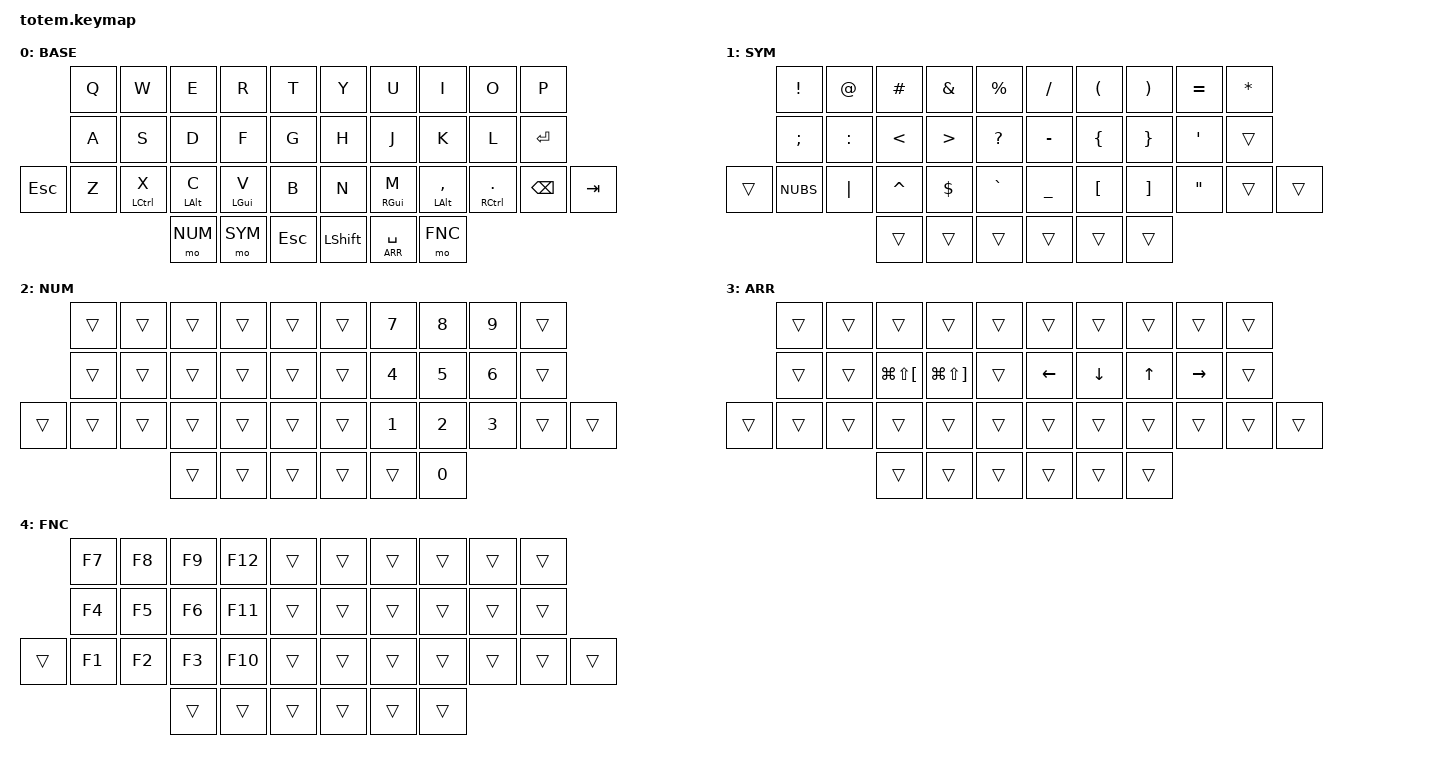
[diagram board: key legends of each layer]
//
//                                                        ▀▀▀▀▀     ▀▀▀▀▀          ▀▀█▀▀
//                                                        ▄▀▀▀▄  ▄  ▄▀▀▀▄  ▄  ▄▀▀▀▄  █  ▄▀▀▀▄
//                                                        █   █  █  █   █  █  █   █  █  █   █
//                                                         ▀▀▀   █   ▀▀▀   █   ▀▀▀   ▀   ▀▀▀
//                                                               █      ▄▄▄█▄▄▄    █   █  
//                                                               ▀      █  █  █     █▄█
//                                                             ▀▀▀▀▀    █  █  █      ▀
//                                                                      ▀  ▀  ▀
//
// ▄▄▄▄▄▄▄▄▄▄▄▄▄▄▄▄▄▄▄▄▄▄▄▄▄▄▄▄▄▄▄▄▄▄▄▄▄▄▄▄▄▄▄▄▄▄▄▄▄▄▄▄▄▄▄▄▄▄▄▄▄▄▄▄▄▄▄▄▄▄▄▄▄▄▄▄▄▄▄▄▄▄▄▄▄▄▄▄▄▄▄▄▄▄▄▄▄▄▄▄▄▄▄▄▄▄▄▄▄▄▄▄▄▄▄▄▄▄▄▄▄▄▄▄▄▄▄▄▄▄▄▄▄▄▄▄▄▄▄▄▄▄▄▄▄▄▄▄▄
       

#include <behaviors.dtsi>
#include <dt-bindings/zmk/keys.h>
#include <dt-bindings/zmk/bt.h>
#include <dt-bindings/zmk/outputs.h>

#define BASE 0
#define SYM  1
#define NUM  2
#define ARR  3
#define FNC  4


&mt {
  quick-tap-ms = <100>;
  global-quick-tap;
  flavor = "tap-preferred";
  tapping-term-ms = <170>;
};

/ {
    combos {
            compatible = "zmk,combos";
            combo_esc {
                timeout-ms = <50>;
                key-positions = <0 1>;
                bindings = <&kp ESC>;
            };
    };

    macros {
        gif: gif {
            label = "giphy";
            compatible = "zmk,behavior-macro";
            #binding-cells = <0>;
            bindings
                = <&macro_press &kp LSHFT>
                , <&macro_tap &kp N2>
                , <&macro_release &kp LSHFT>
                , <&macro_tap &kp G &kp I &kp F>
                ;
        };
    };

        keymap {
                compatible = "zmk,keymap";
// ▄▄▄▄▄▄▄▄▄▄▄▄▄▄▄▄▄▄▄▄▄▄▄▄▄▄▄▄▄▄▄▄▄▄▄▄▄▄▄▄▄▄▄▄▄▄▄▄▄▄▄▄▄▄▄▄▄▄▄▄▄▄▄▄▄▄▄▄▄▄▄▄▄▄▄▄▄▄▄▄▄▄▄▄▄▄▄▄▄▄▄▄▄▄▄▄▄▄▄▄▄▄▄▄▄▄▄▄▄▄▄▄▄▄▄▄▄▄▄▄▄▄▄▄▄▄▄▄▄▄▄▄▄▄▄▄▄▄▄▄▄▄▄▄▄▄▄▄▄

                base_layer {
// ┏━━━━━━━━━━━━━━━━━━━━━━━━━━━━━━━━━━━━━━━┓
label= "BASE"                              ;
// ┗━━━━━━━━━━━━━━━━━━━━━━━━━━━━━━━━━━━━━━━┛
//             ┏━━━━━━━━━━━┳━━━━━━━━━━━┳━━━━━━━━━━━┳━━━━━━━━━━━┳━━━━━━━━━━━┓   ┏━━━━━━━━━━━┳━━━━━━━━━━━┳━━━━━━━━━━━┳━━━━━━━━━━━┳━━━━━━━━━━━┓
//             ┃     Q     ┃     W     ┃     F     ┃     P     ┃     G     ┃   ┃     J     ┃     L     ┃     U     ┃     Y     ┃     ;     ┃
//             ┣━━━━━━━━━━━╋━━━━━━━━━━━╋━━━━━━━━━━━╋━━━━━━━━━━━╋━━━━━━━━━━━┫   ┣━━━━━━━━━━━╋━━━━━━━━━━━╋━━━━━━━━━━━╋━━━━━━━━━━━╋━━━━━━━━━━━┫
//             ┃     A     ┃     R     ┃     S     ┃     T     ┃     D     ┃   ┃     H     ┃     N     ┃     E     ┃     I     ┃     O     ┃
// ┏━━━━━━━━━━━╋━━━━━━━━━━━╋━━━━━━━━━━━╋━━━━━━━━━━━╋━━━━━━━━━━━╋━━━━━━━━━━━┫   ┣━━━━━━━━━━━╋━━━━━━━━━━━╋━━━━━━━━━━━╋━━━━━━━━━━━╋━━━━━━━━━━━╋━━━━━━━━━━━┓
// ┃           ┃     Z     ┃     X     ┃     C     ┃     V     ┃     B     ┃   ┃     K     ┃     M     ┃     ,     ┃     .     ┃     /     ┃           ┃
// ┗━━━━━━━━━━━┻━━━━━━━━━━━┻━━━━━━━━━━━╋━━━━━━━━━━━╋━━━━━━━━━━━╋━━━━━━━━━━━┫   ┣━━━━━━━━━━━╋━━━━━━━━━━━╋━━━━━━━━━━━╋━━━━━━━━━━━┻━━━━━━━━━━━┻━━━━━━━━━━━┛
//                                     ┃           ┃    TAB    ┃    SPC    ┃   ┃   ENTER   ┃   BSPC    ┃           ┃
//                                     ┗━━━━━━━━━━━┻━━━━━━━━━━━┻━━━━━━━━━━━┛   ┗━━━━━━━━━━━┻━━━━━━━━━━━┻━━━━━━━━━━━┛
 bindings = <
// ╷           ╷           ╷           ╷           ╷           ╷           ╷   ╷           ╷           ╷           ╷           ╷           ╷           ╷

                &kp Q       &kp W       &kp E       &kp R       &kp T           &kp Y       &kp U       &kp I       &kp O       &kp P
                &kp A       &kp S       &kp D       &kp F       &kp G           &kp H       &kp J       &kp K       &kp L       &kp RET    
    &kp ESC     &kp Z       &mt LCTRL X &mt LALT C  &mt LGUI V &kp B           &kp N       &mt RGUI M  &mt LALT COMMA &mt RCTRL DOT  &kp BSPC  &kp TAB
                                        &mo NUM     &mo SYM     &kp ESC         &kp LSHFT   &lt ARR SPACE  &mo FNC
                        >;
                };

// ▄▄▄▄▄▄▄▄▄▄▄▄▄▄▄▄▄▄▄▄▄▄▄▄▄▄▄▄▄▄▄▄▄▄▄▄▄▄▄▄▄▄▄▄▄▄▄▄▄▄▄▄▄▄▄▄▄▄▄▄▄▄▄▄▄▄▄▄▄▄▄▄▄▄▄▄▄▄▄▄▄▄▄▄▄▄▄▄▄▄▄▄▄▄▄▄▄▄▄▄▄▄▄▄▄▄▄▄▄▄▄▄▄▄▄▄▄▄▄▄▄▄▄▄▄▄▄▄▄▄▄▄▄▄▄▄▄▄▄▄▄▄▄▄▄▄▄▄▄


                sym_layer {
// ┏━━━━━━━━━━━━━━━━━━━━━━━━━━━━━━━━━━━━━━━┓
label= "SYM"                              ;
// ┗━━━━━━━━━━━━━━━━━━━━━━━━━━━━━━━━━━━━━━━┛
//             ┏━━━━━━━━━━━┳━━━━━━━━━━━┳━━━━━━━━━━━┳━━━━━━━━━━━┳━━━━━━━━━━━┓   ┏━━━━━━━━━━━┳━━━━━━━━━━━┳━━━━━━━━━━━┳━━━━━━━━━━━┳━━━━━━━━━━━┓
//             ┃           ┃           ┃     UP    ┃           ┃     {     ┃   ┃     }     ┃     7     ┃     8     ┃     9     ┃     +     ┃
//             ┣━━━━━━━━━━━╋━━━━━━━━━━━╋━━━━━━━━━━━╋━━━━━━━━━━━╋━━━━━━━━━━━┫   ┣━━━━━━━━━━━╋━━━━━━━━━━━╋━━━━━━━━━━━╋━━━━━━━━━━━╋━━━━━━━━━━━┫
//             ┃   SHIFT   ┃   LEFT    ┃    DOWN   ┃   RIGHT   ┃     [     ┃   ┃     ]     ┃     4     ┃     5     ┃     6     ┃     -     ┃
// ┏━━━━━━━━━━━╋━━━━━━━━━━━╋━━━━━━━━━━━╋━━━━━━━━━━━╋━━━━━━━━━━━╋━━━━━━━━━━━┫   ┣━━━━━━━━━━━╋━━━━━━━━━━━╋━━━━━━━━━━━╋━━━━━━━━━━━╋━━━━━━━━━━━╋━━━━━━━━━━━┓
// ┃           ┃           ┃   P UP    ┃  C LOCK   ┃  P DOWN   ┃     (     ┃   ┃     )     ┃     1     ┃     2     ┃     3     ┃     *     ┃           ┃
// ┗━━━━━━━━━━━┻━━━━━━━━━━━┻━━━━━━━━━━━╋━━━━━━━━━━━╋━━━━━━━━━━━╋━━━━━━━━━━━┫   ┣━━━━━━━━━━━╋━━━━━━━━━━━╋━━━━━━━━━━━╋━━━━━━━━━━━┻━━━━━━━━━━━┻━━━━━━━━━━━┛
//                                     ┃           ┃    TAB    ┃    SPC    ┃   ┃    DEL    ┃     0     ┃           ┃
//                                     ┗━━━━━━━━━━━┻━━━━━━━━━━━┻━━━━━━━━━━━┛   ┗━━━━━━━━━━━┻━━━━━━━━━━━┻━━━━━━━━━━━┛
 bindings = <
// ╷           ╷           ╷           ╷           ╷           ╷           ╷   ╷           ╷           ╷           ╷           ╷           ╷           ╷

                &kp EXCL    &kp AT      &kp HASH    &kp AMPS    &kp PRCNT       &kp SLASH   &kp LPAR    &kp RPAR    &kp EQUAL   &kp ASTRK
                &kp SEMI    &kp COLON   &kp LT      &kp GT      &kp QMARK       &kp MINUS   &kp LBRC    &kp RBRC    &kp SQT     &trans
    &trans      &kp NUBS    &kp PIPE    &kp CARET   &kp DLLR    &kp GRAVE       &kp UNDER   &kp LBKT    &kp RBKT    &kp DQT   &trans    &trans      
                                        &trans      &trans      &trans          &trans     &trans   &trans      
                        >;
                };

// ▄▄▄▄▄▄▄▄▄▄▄▄▄▄▄▄▄▄▄▄▄▄▄▄▄▄▄▄▄▄▄▄▄▄▄▄▄▄▄▄▄▄▄▄▄▄▄▄▄▄▄▄▄▄▄▄▄▄▄▄▄▄▄▄▄▄▄▄▄▄▄▄▄▄▄▄▄▄▄▄▄▄▄▄▄▄▄▄▄▄▄▄▄▄▄▄▄▄▄▄▄▄▄▄▄▄▄▄▄▄▄▄▄▄▄▄▄▄▄▄▄▄▄▄▄▄▄▄▄▄▄▄▄▄▄▄▄▄▄▄▄▄▄▄▄▄▄▄▄


                num_layer {
// ┏━━━━━━━━━━━━━━━━━━━━━━━━━━━━━━━━━━━━━━━┓
label= "NUM"                               ;
// ┗━━━━━━━━━━━━━━━━━━━━━━━━━━━━━━━━━━━━━━━┛
//             ┏━━━━━━━━━━━┳━━━━━━━━━━━┳━━━━━━━━━━━┳━━━━━━━━━━━┳━━━━━━━━━━━┓   ┏━━━━━━━━━━━┳━━━━━━━━━━━┳━━━━━━━━━━━┳━━━━━━━━━━━┳━━━━━━━━━━━┓
//             ┃     !     ┃     @     ┃     #     ┃     $     ┃     %     ┃   ┃     ˆ     ┃     &     ┃     Ü     ┃     '     ┃     "     ┃
//             ┣━━━━━━━━━━━╋━━━━━━━━━━━╋━━━━━━━━━━━╋━━━━━━━━━━━╋━━━━━━━━━━━┫   ┣━━━━━━━━━━━╋━━━━━━━━━━━╋━━━━━━━━━━━╋━━━━━━━━━━━╋━━━━━━━━━━━┫
//             ┃     Ä     ┃           ┃    SZ     ┃           ┃           ┃   ┃   MUTE    ┃   YEN     ┃   EURO    ┃  POUND    ┃     Ö     ┃
// ┏━━━━━━━━━━━╋━━━━━━━━━━━╋━━━━━━━━━━━╋━━━━━━━━━━━╋━━━━━━━━━━━╋━━━━━━━━━━━┫   ┣━━━━━━━━━━━╋━━━━━━━━━━━╋━━━━━━━━━━━╋━━━━━━━━━━━╋━━━━━━━━━━━╋━━━━━━━━━━━┓
// ┃           ┃  EMAIL1   ┃  EMAIL2   ┃           ┃           ┃           ┃   ┃   VOL-    ┃   VOL+    ┃   LAST    ┃   NEXT    ┃     \     ┃           ┃
// ┗━━━━━━━━━━━┻━━━━━━━━━━━┻━━━━━━━━━━━╋━━━━━━━━━━━╋━━━━━━━━━━━╋━━━━━━━━━━━┫   ┣━━━━━━━━━━━╋━━━━━━━━━━━╋━━━━━━━━━━━╋━━━━━━━━━━━┻━━━━━━━━━━━┻━━━━━━━━━━━┛
//                                     ┃           ┃    GIF    ┃    ADJ    ┃   ┃           ┃           ┃           ┃
//                                     ┗━━━━━━━━━━━┻━━━━━━━━━━━┻━━━━━━━━━━━┛   ┗━━━━━━━━━━━┻━━━━━━━━━━━┻━━━━━━━━━━━┛
 bindings = <
// ╷           ╷           ╷           ╷           ╷           ╷           ╷   ╷           ╷           ╷           ╷           ╷           ╷           ╷

                &trans      &trans      &trans    &trans            &trans        &trans      &kp N7          &kp N8      &kp N9      &trans       
                &trans      &trans      &trans    &trans            &trans        &trans      &kp N4          &kp N5      &kp N6      &trans   
    &trans      &trans      &trans      &trans    &trans            &trans        &trans      &kp N1          &kp N2      &kp N3      &trans   &trans         
                                        &trans    &trans            &trans        &trans      &trans          &kp N0      
                        >;
                };

// ▄▄▄▄▄▄▄▄▄▄▄▄▄▄▄▄▄▄▄▄▄▄▄▄▄▄▄▄▄▄▄▄▄▄▄▄▄▄▄▄▄▄▄▄▄▄▄▄▄▄▄▄▄▄▄▄▄▄▄▄▄▄▄▄▄▄▄▄▄▄▄▄▄▄▄▄▄▄▄▄▄▄▄▄▄▄▄▄▄▄▄▄▄▄▄▄▄▄▄▄▄▄▄▄▄▄▄▄▄▄▄▄▄▄▄▄▄▄▄▄▄▄▄▄▄▄▄▄▄▄▄▄▄▄▄▄▄▄▄▄▄▄▄▄▄▄▄▄▄


                arr_layer {
// ┏━━━━━━━━━━━━━━━━━━━━━━━━━━━━━━━━━━━━━━━┓
label= "ARR"                               ;
// ┗━━━━━━━━━━━━━━━━━━━━━━━━━━━━━━━━━━━━━━━┛
//             ┏━━━━━━━━━━━┳━━━━━━━━━━━┳━━━━━━━━━━━┳━━━━━━━━━━━┳━━━━━━━━━━━┓   ┏━━━━━━━━━━━┳━━━━━━━━━━━┳━━━━━━━━━━━┳━━━━━━━━━━━┳━━━━━━━━━━━┓
//             ┃     !     ┃     @     ┃     #     ┃     $     ┃     %     ┃   ┃     ˆ     ┃     &     ┃     Ü     ┃     '     ┃     "     ┃
//             ┣━━━━━━━━━━━╋━━━━━━━━━━━╋━━━━━━━━━━━╋━━━━━━━━━━━╋━━━━━━━━━━━┫   ┣━━━━━━━━━━━╋━━━━━━━━━━━╋━━━━━━━━━━━╋━━━━━━━━━━━╋━━━━━━━━━━━┫
//             ┃     Ä     ┃           ┃    SZ     ┃           ┃           ┃   ┃   MUTE    ┃   YEN     ┃   EURO    ┃  POUND    ┃     Ö     ┃
// ┏━━━━━━━━━━━╋━━━━━━━━━━━╋━━━━━━━━━━━╋━━━━━━━━━━━╋━━━━━━━━━━━╋━━━━━━━━━━━┫   ┣━━━━━━━━━━━╋━━━━━━━━━━━╋━━━━━━━━━━━╋━━━━━━━━━━━╋━━━━━━━━━━━╋━━━━━━━━━━━┓
// ┃           ┃  EMAIL1   ┃  EMAIL2   ┃           ┃           ┃           ┃   ┃   VOL-    ┃   VOL+    ┃   LAST    ┃   NEXT    ┃     \     ┃           ┃
// ┗━━━━━━━━━━━┻━━━━━━━━━━━┻━━━━━━━━━━━╋━━━━━━━━━━━╋━━━━━━━━━━━╋━━━━━━━━━━━┫   ┣━━━━━━━━━━━╋━━━━━━━━━━━╋━━━━━━━━━━━╋━━━━━━━━━━━┻━━━━━━━━━━━┻━━━━━━━━━━━┛
//                                     ┃           ┃    GIF    ┃    ADJ    ┃   ┃           ┃           ┃           ┃
//                                     ┗━━━━━━━━━━━┻━━━━━━━━━━━┻━━━━━━━━━━━┛   ┗━━━━━━━━━━━┻━━━━━━━━━━━┻━━━━━━━━━━━┛
 bindings = <
// ╷           ╷           ╷           ╷           ╷           ╷           ╷   ╷           ╷           ╷           ╷           ╷           ╷           ╷

                &trans      &trans      &trans              &trans            &trans        &trans      &trans          &trans      &trans      &trans       
                &trans      &trans      &kp LG(LS(LBKT))    &kp LG(LS(RBKT))  &trans        &kp LEFT    &kp DOWN        &kp UP      &kp RIGHT   &trans   
    &trans      &trans      &trans      &trans              &trans            &trans        &trans      &trans          &trans      &trans      &trans   &trans         
                                        &trans              &trans            &trans        &trans      &trans          &trans      
                        >;
                };

// ▄▄▄▄▄▄▄▄▄▄▄▄▄▄▄▄▄▄▄▄▄▄▄▄▄▄▄▄▄▄▄▄▄▄▄▄▄▄▄▄▄▄▄▄▄▄▄▄▄▄▄▄▄▄▄▄▄▄▄▄▄▄▄▄▄▄▄▄▄▄▄▄▄▄▄▄▄▄▄▄▄▄▄▄▄▄▄▄▄▄▄▄▄▄▄▄▄▄▄▄▄▄▄▄▄▄▄▄▄▄▄▄▄▄▄▄▄▄▄▄▄▄▄▄▄▄▄▄▄▄▄▄▄▄▄▄▄▄▄▄▄▄▄▄▄▄▄▄▄


                fnc_layer {
// ┏━━━━━━━━━━━━━━━━━━━━━━━━━━━━━━━━━━━━━━━┓
label= "FNC"                               ;
// ┗━━━━━━━━━━━━━━━━━━━━━━━━━━━━━━━━━━━━━━━┛
//             ┏━━━━━━━━━━━┳━━━━━━━━━━━┳━━━━━━━━━━━┳━━━━━━━━━━━┳━━━━━━━━━━━┓   ┏━━━━━━━━━━━┳━━━━━━━━━━━┳━━━━━━━━━━━┳━━━━━━━━━━━┳━━━━━━━━━━━┓
//             ┃   RESET   ┃ BT CLEAR  ┃  OUT TOG  ┃           ┃           ┃   ┃           ┃    F7     ┃    F8     ┃    F9     ┃    F12    ┃
//             ┣━━━━━━━━━━━╋━━━━━━━━━━━╋━━━━━━━━━━━╋━━━━━━━━━━━╋━━━━━━━━━━━┫   ┣━━━━━━━━━━━╋━━━━━━━━━━━╋━━━━━━━━━━━╋━━━━━━━━━━━╋━━━━━━━━━━━┫
//             ┃ BOOTLOAD  ┃ BT NEXT   ┃           ┃           ┃           ┃   ┃           ┃    F4     ┃    F5     ┃    F6     ┃    F11    ┃
// ┏━━━━━━━━━━━╋━━━━━━━━━━━╋━━━━━━━━━━━╋━━━━━━━━━━━╋━━━━━━━━━━━╋━━━━━━━━━━━┫   ┣━━━━━━━━━━━╋━━━━━━━━━━━╋━━━━━━━━━━━╋━━━━━━━━━━━╋━━━━━━━━━━━╋━━━━━━━━━━━┓
// ┃           ┃           ┃ BT PREV   ┃           ┃           ┃           ┃   ┃           ┃    F1     ┃    F2     ┃    F3     ┃    F10    ┃           ┃
// ┗━━━━━━━━━━━┻━━━━━━━━━━━┻━━━━━━━━━━━╋━━━━━━━━━━━╋━━━━━━━━━━━╋━━━━━━━━━━━┫   ┣━━━━━━━━━━━╋━━━━━━━━━━━╋━━━━━━━━━━━╋━━━━━━━━━━━┻━━━━━━━━━━━┻━━━━━━━━━━━┛
//                                     ┃           ┃           ┃           ┃   ┃           ┃           ┃           ┃
//                                     ┗━━━━━━━━━━━┻━━━━━━━━━━━┻━━━━━━━━━━━┛   ┗━━━━━━━━━━━┻━━━━━━━━━━━┻━━━━━━━━━━━┛
 bindings = <
// ╷           ╷           ╷           ╷           ╷           ╷           ╷   ╷           ╷           ╷           ╷           ╷           ╷           ╷

                &kp F7      &kp F8      &kp F9      &kp F12      &trans          &trans      &trans          &trans      &trans          &trans
                &kp F4      &kp F5      &kp F6      &kp F11      &trans          &trans      &trans          &trans      &trans          &trans  
    &trans      &kp F1      &kp F2      &kp F3      &kp F10      &trans          &trans      &trans          &trans      &trans          &trans     &trans         
                                        &trans      &trans       &trans          &trans      &trans      &trans      
                        >;
                };
        };
};
